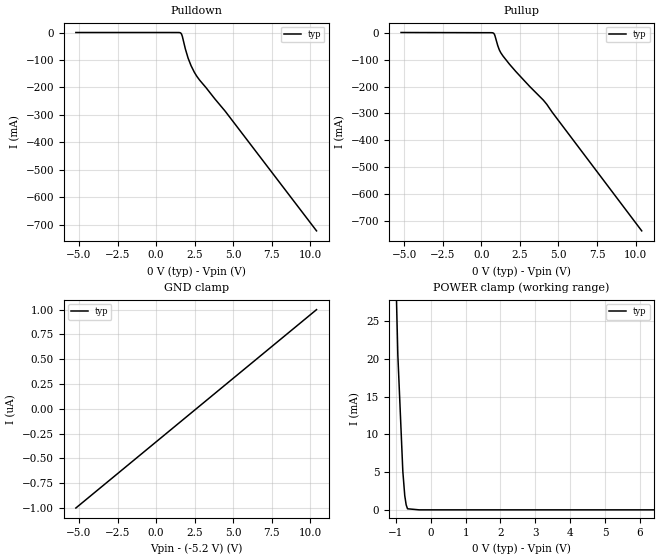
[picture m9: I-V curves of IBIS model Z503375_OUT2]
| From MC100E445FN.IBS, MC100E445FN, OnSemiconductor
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| (C) COPYRIGHT 1993-2000
| MENTOR GRAPHICS CORPORATION
| ICX STANDARD LIBRARY, ICX PROJECT MODELING,
| ICX CUSTOM MODELING, ICX VENDOR MODEL
| ALL RIGHTS RESERVED.
| THE FOLLOWING ARE TRADEMARKS OR SERVICE MARKS OF
| MENTOR GRAPHICS CORPORATION:ICX (R), ICX STANDARD
| LIBRARY(R), ICX PROJECT MODELING(R), ICX CUSTOM
| MODELING(R), qualityIBIS(TM), MODELVIEWER(TM),
| AND MODELEDITOR(TM)
| ALL COPIES OF SOFTWARE, INCLUDING BUT NOT LIMITED TO
| ANY MODIFICATIONS, ENHANCEMENTS OR DERIVATIVE WORKS,
| MUST CONTAIN ALL MENTOR GRAPHICS CORPORATION'S
| NOTICES AND LEGENDS, INCLUDING THOSE EMBEDDED IN
| SOFTWARE AND THOSE AFFIXED TO SOFTWARE MEDIUM
| AND CONTAINER, AS RECEIVED FROM MENTOR GRAPHICS
| CORPORATION.
| Model Application Version 1.89 2/18/99.
[Model] Z503375_OUT2
Model_type Output_ECL
Vref=-2.000V
Rref=50.00ohms
Cref=0.000F
Vmeas=-1.320V
C_comp 8.000pF NA NA
| variable typ   min   max
[Voltage Range] -5.200V NA NA
[POWER Clamp Reference] 0.000V NA NA
[Pullup Reference] 0.000V NA NA
[Pulldown Reference] 0.000V NA NA
[GND Clamp Reference] -5.200V NA NA
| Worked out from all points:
|   POWER clamp passes 1 mA (typ) near -0.72 V on its own axis
[GND Clamp]
-5.2V     -1uA       NA         NA
10.4V     1uA        NA         NA
[Pulldown]
-5.2V     46.96uA    NA         NA
1.602V    -1.981mA   NA         NA
1.705V    -14.67mA   NA         NA
1.895V    -59.28mA   NA         NA
2.075V    -93.31mA   NA         NA
2.266V    -120.7mA   NA         NA
2.642V    -159.7mA   NA         NA
4.482V    -286.9mA   NA         NA
10.4V     -722.7mA   NA         NA
[Pullup]
-5.2V     694.7uA    NA         NA
804.2mV   -2.158mA   NA         NA
890.8mV   -11.94mA   NA         NA
1.069V    -48.18mA   NA         NA
1.172V    -64.16mA   NA         NA
1.407V    -86.55mA   NA         NA
2.242V    -144.3mA   NA         NA
4.248V    -266mA     NA         NA
4.59V     -294.7mA   NA         NA
10.4V     -735.7mA   NA         NA
[POWER Clamp]
-5.2V     1.615A     NA         NA
-1.21V    89.28mA    NA         NA
-1.045V   39.19mA    NA         NA
-947.3mV  20.58mA    NA         NA
-803.5mV  5.102mA    NA         NA
-747.9mV  1.875mA    NA         NA
-707.4mV  655.7uA    NA         NA
-668.8mV  140.7uA    NA         NA
-334.4mV  0A         NA         NA
10.4V     0A         NA         NA
[Ramp]
| variable typ min max
dV/dt_r 455.8m/422.4p NA NA
dV/dt_f 455.8m/279.1p NA NA
R_load = 500.0Ohms
